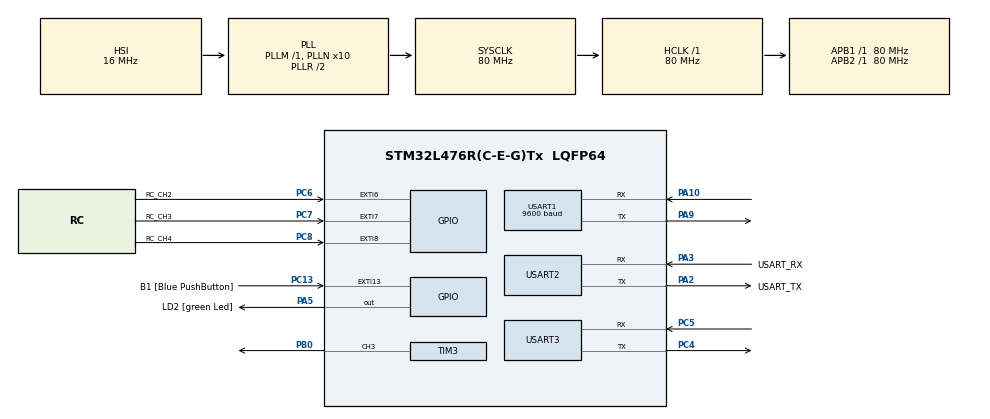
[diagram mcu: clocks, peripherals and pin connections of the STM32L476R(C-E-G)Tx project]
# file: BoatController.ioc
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FREERTOS.Tasks01=defaultTask,0,128,StartDefaultTask,Default,NULL,Dynamic,NULL,NULL;controlSafran,1,128,StartControlSafran,Default,NULL,Dynamic,NULL,NULL
Mcu.Family=STM32L4
Mcu.Name=STM32L476R(C-E-G)Tx
Mcu.Package=LQFP64
NVIC.EXTI9_5_IRQn=true\:5\:0\:true\:false\:true\:false\:true\:true
NVIC.PriorityGroup=NVIC_PRIORITYGROUP_4
NVIC.TIM2_IRQn=true\:5\:0\:false\:false\:true\:true\:true\:true
PA10.Mode=Asynchronous
PA10.Signal=USART1_RX
PA13\ (JTMS-SWDIO).GPIO_Label=TMS
PA13\ (JTMS-SWDIO).Mode=Serial_Wire
PA13\ (JTMS-SWDIO).Signal=SYS_JTMS-SWDIO
PA14\ (JTCK-SWCLK).GPIO_Label=TCK
PA14\ (JTCK-SWCLK).Mode=Serial_Wire
PA14\ (JTCK-SWCLK).Signal=SYS_JTCK-SWCLK
PA2.GPIO_Label=USART_TX
PA2.GPIO_Mode=GPIO_MODE_AF_PP
PA2.GPIO_PuPd=GPIO_NOPULL
PA2.GPIO_Speed=GPIO_SPEED_FREQ_VERY_HIGH
PA2.Mode=Asynchronous
PA2.Signal=USART2_TX
PA3.GPIO_Label=USART_RX
PA3.GPIO_Mode=GPIO_MODE_AF_PP
PA3.GPIO_PuPd=GPIO_NOPULL
PA3.GPIO_Speed=GPIO_SPEED_FREQ_VERY_HIGH
PA3.Mode=Asynchronous
PA3.Signal=USART2_RX
PA5.GPIO_Label=LD2 [green Led]
PA5.GPIO_ModeDefaultOutputPP=GPIO_MODE_OUTPUT_PP
PA5.GPIO_PuPd=GPIO_NOPULL
PA5.GPIO_Speed=GPIO_SPEED_FREQ_LOW
PA5.Signal=GPIO_Output
PA9.Mode=Asynchronous
PA9.Signal=USART1_TX
PB0.Signal=S_TIM3_CH3
PB3\ (JTDO-TRACESWO).GPIO_Label=SWO
PB3\ (JTDO-TRACESWO).Signal=SYS_JTDO-SWO
PC13.GPIO_Label=B1 [Blue PushButton]
PC13.GPIO_ModeDefaultEXTI=GPIO_MODE_IT_FALLING
PC13.GPIO_PuPd=GPIO_NOPULL
PC13.Signal=GPXTI13
PC14-OSC32_IN\ (PC14).Mode=LSE-External-Oscillator
PC14-OSC32_IN\ (PC14).Signal=RCC_OSC32_IN
PC15-OSC32_OUT\ (PC15).Mode=LSE-External-Oscillator
PC15-OSC32_OUT\ (PC15).Signal=RCC_OSC32_OUT
PC4.Mode=Asynchronous
PC4.Signal=USART3_TX
PC5.Mode=Asynchronous
PC5.Signal=USART3_RX
PC6.GPIO_Label=RC_CH2
PC6.GPIO_ModeDefaultEXTI=GPIO_MODE_IT_RISING_FALLING
PC6.Signal=GPXTI6
PC7.GPIO_Label=RC_CH3
PC7.GPIO_ModeDefaultEXTI=GPIO_MODE_IT_RISING_FALLING
PC7.Signal=GPXTI7
PC8.GPIO_Label=RC_CH4
PC8.GPIO_ModeDefaultEXTI=GPIO_MODE_IT_RISING_FALLING
PC8.Signal=GPXTI8
PH0-OSC_IN\ (PH0).Mode=HSE-External-Oscillator
PH0-OSC_IN\ (PH0).Signal=RCC_OSC_IN
PH1-OSC_OUT\ (PH1).Mode=HSE-External-Oscillator
PH1-OSC_OUT\ (PH1).Signal=RCC_OSC_OUT
ProjectManager.HeapSize=0x200
ProjectManager.StackSize=0x400
ProjectManager.TargetToolchain=SW4STM32
RCC.ADCFreq_Value=64000000
RCC.AHBFreq_Value=80000000
RCC.APB1Freq_Value=80000000
RCC.APB1TimFreq_Value=80000000
RCC.APB2Freq_Value=80000000
RCC.APB2TimFreq_Value=80000000
RCC.CortexFreq_Value=80000000
RCC.HCLKFreq_Value=80000000
RCC.HSE_VALUE=8000000
RCC.HSI_VALUE=16000000
RCC.MSI_VALUE=4000000
RCC.PLLN=10
RCC.PLLSourceVirtual=RCC_PLLSOURCE_HSI
RCC.PREFETCH_ENABLE=1
RCC.SYSCLKFreq_VALUE=80000000
RCC.SYSCLKSource=RCC_SYSCLKSOURCE_PLLCLK
RCC.USBFreq_Value=64000000
RCC.VCOOutputFreq_Value=160000000
SH.S_TIM3_CH3.0=TIM3_CH3,PWM Generation3 CH3
TIM2.Period=100000
TIM2.Prescaler=79
TIM3.Channel-PWM\ Generation3\ CH3=TIM_CHANNEL_3
TIM3.Prescaler=79
USART1.BaudRate=9600
USART1.Mode=MODE_TX_RX
USART1.VirtualMode-Asynchronous=VM_ASYNC
USART2.VirtualMode-Asynchronous=VM_ASYNC
USART3.VirtualMode-Asynchronous=VM_ASYNC
VP_FREERTOS_VS_CMSIS_V1.Mode=CMSIS_V1
VP_TIM2_VS_ClockSourceINT.Mode=Internal
board=NUCLEO-L476RG

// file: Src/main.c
/* USER CODE BEGIN Header */
/**
  ******************************************************************************
  * @file           : main.c
  * @brief          : Main program body
  ******************************************************************************
  * @attention
  *
  * <h2><center>&copy; Copyright (c) 2019 STMicroelectronics.
  * All rights reserved.</center></h2>
  *
  * This software component is licensed by ST under Ultimate Liberty license
  * SLA0044, the "License"; You may not use this file except in compliance with
  * the License. You may obtain a copy of the License at:
  *                             www.st.com/SLA0044
  *
  ******************************************************************************
  */
/* USER CODE END Header */

#include "main.h"
#include "cmsis_os.h"

TIM_HandleTypeDef htim2;
TIM_HandleTypeDef htim3;

UART_HandleTypeDef huart1;
UART_HandleTypeDef huart2;
UART_HandleTypeDef huart3;

osThreadId defaultTaskHandle;
osThreadId controlSafranHandle;
osThreadId readSafranHandle;
/* USER CODE BEGIN PV */
long pulse_width[HYDRO_NB_RC_CH];
long pulse_start[HYDRO_NB_RC_CH];
long increment = MID_POS_SAFRAN;
long consigne_angle_safran = 0;
char com_safran[1];
long valeur = 0;
/* USER CODE END PV */

void SystemClock_Config(void);
static void MX_GPIO_Init(void);
static void MX_USART2_UART_Init(void);
static void MX_USART3_UART_Init(void);
static void MX_TIM2_Init(void);
static void MX_TIM3_Init(void);
static void MX_USART1_UART_Init(void);
void StartDefaultTask(void const * argument);
void StartControlSafran(void const * argument);
void StartReadSafran(void const * argument);

/* USER CODE BEGIN 0 */
static void debugPrint(UART_HandleTypeDef *huart, char _out[]){
  HAL_UART_Transmit(huart, (uint8_t *) _out, strlen(_out), 1);
}

static void debugPrintln(UART_HandleTypeDef *huart, char _out[]){
  HAL_UART_Transmit(huart, (uint8_t *) _out, strlen(_out), 10);
  char newline[2] = "\r\n";
  HAL_UART_Transmit(huart, (uint8_t *) newline, 2, 10);
}
/* USER CODE END 0 */

int main(void)
{

  /* MCU Configuration--------------------------------------------------------*/

  /* Reset of all peripherals, Initializes the Flash interface and the Systick. */
  HAL_Init();

  /* Configure the system clock */
  SystemClock_Config();

  /* Initialize all configured peripherals */
  MX_GPIO_Init();
  MX_USART2_UART_Init();
  MX_USART3_UART_Init();
  MX_TIM2_Init();
  MX_TIM3_Init();
  MX_USART1_UART_Init();

  /* Create the thread(s) */
  /* definition and creation of defaultTask */
  osThreadDef(defaultTask, StartDefaultTask, osPriorityNormal, 0, 128);
  defaultTaskHandle = osThreadCreate(osThread(defaultTask), NULL);

  /* definition and creation of controlSafran */
  osThreadDef(controlSafran, StartControlSafran, osPriorityAboveNormal, 0, 128);
  controlSafranHandle = osThreadCreate(osThread(controlSafran), NULL);

  /* definition and creation of readSafran */
  osThreadDef(readSafran, StartReadSafran, osPriorityAboveNormal, 0, 128);
  readSafranHandle = osThreadCreate(osThread(readSafran), NULL);

  /* Start scheduler */
  osKernelStart();

  /* We should never get here as control is now taken by the scheduler */

  /* Infinite loop */
  while (1)
  {

  }
}

void SystemClock_Config(void)
{
  RCC_OscInitTypeDef RCC_OscInitStruct = {0};
  RCC_ClkInitTypeDef RCC_ClkInitStruct = {0};
  RCC_PeriphCLKInitTypeDef PeriphClkInit = {0};

  /** Initializes the CPU, AHB and APB busses clocks
  */
  RCC_OscInitStruct.OscillatorType = RCC_OSCILLATORTYPE_HSI;
  RCC_OscInitStruct.HSIState = RCC_HSI_ON;
  RCC_OscInitStruct.HSICalibrationValue = RCC_HSICALIBRATION_DEFAULT;
  RCC_OscInitStruct.PLL.PLLState = RCC_PLL_ON;
  RCC_OscInitStruct.PLL.PLLSource = RCC_PLLSOURCE_HSI;
  RCC_OscInitStruct.PLL.PLLM = 1;
  RCC_OscInitStruct.PLL.PLLN = 10;
  RCC_OscInitStruct.PLL.PLLP = RCC_PLLP_DIV7;
  RCC_OscInitStruct.PLL.PLLQ = RCC_PLLQ_DIV2;
  RCC_OscInitStruct.PLL.PLLR = RCC_PLLR_DIV2;
  if (HAL_RCC_OscConfig(&RCC_OscInitStruct) != HAL_OK)
  {
    Error_Handler();
  }
  /** Initializes the CPU, AHB and APB busses clocks
  */
  RCC_ClkInitStruct.ClockType = RCC_CLOCKTYPE_HCLK|RCC_CLOCKTYPE_SYSCLK
                              |RCC_CLOCKTYPE_PCLK1|RCC_CLOCKTYPE_PCLK2;
  RCC_ClkInitStruct.SYSCLKSource = RCC_SYSCLKSOURCE_PLLCLK;
  RCC_ClkInitStruct.AHBCLKDivider = RCC_SYSCLK_DIV1;
  RCC_ClkInitStruct.APB1CLKDivider = RCC_HCLK_DIV1;
  RCC_ClkInitStruct.APB2CLKDivider = RCC_HCLK_DIV1;

  if (HAL_RCC_ClockConfig(&RCC_ClkInitStruct, FLASH_LATENCY_4) != HAL_OK)
  {
    Error_Handler();
  }
  PeriphClkInit.PeriphClockSelection = RCC_PERIPHCLK_USART1|RCC_PERIPHCLK_USART2
                              |RCC_PERIPHCLK_USART3;
  PeriphClkInit.Usart1ClockSelection = RCC_USART1CLKSOURCE_PCLK2;
  PeriphClkInit.Usart2ClockSelection = RCC_USART2CLKSOURCE_PCLK1;
  PeriphClkInit.Usart3ClockSelection = RCC_USART3CLKSOURCE_PCLK1;
  if (HAL_RCCEx_PeriphCLKConfig(&PeriphClkInit) != HAL_OK)
  {
    Error_Handler();
  }
  /** Configure the main internal regulator output voltage
  */
  if (HAL_PWREx_ControlVoltageScaling(PWR_REGULATOR_VOLTAGE_SCALE1) != HAL_OK)
  {
    Error_Handler();
  }
}

static void MX_TIM2_Init(void)
{

  TIM_ClockConfigTypeDef sClockSourceConfig = {0};
  TIM_MasterConfigTypeDef sMasterConfig = {0};

  htim2.Instance = TIM2;
  htim2.Init.Prescaler = 79;
  htim2.Init.CounterMode = TIM_COUNTERMODE_UP;
  htim2.Init.Period = 100000;
  htim2.Init.ClockDivision = TIM_CLOCKDIVISION_DIV1;
  htim2.Init.AutoReloadPreload = TIM_AUTORELOAD_PRELOAD_DISABLE;
  if (HAL_TIM_Base_Init(&htim2) != HAL_OK)
  {
    Error_Handler();
  }
  sClockSourceConfig.ClockSource = TIM_CLOCKSOURCE_INTERNAL;
  if (HAL_TIM_ConfigClockSource(&htim2, &sClockSourceConfig) != HAL_OK)
  {
    Error_Handler();
  }
  sMasterConfig.MasterOutputTrigger = TIM_TRGO_RESET;
  sMasterConfig.MasterSlaveMode = TIM_MASTERSLAVEMODE_DISABLE;
  if (HAL_TIMEx_MasterConfigSynchronization(&htim2, &sMasterConfig) != HAL_OK)
  {
    Error_Handler();
  }
  /* USER CODE BEGIN TIM2_Init 2 */
  HAL_TIM_Base_Start(&htim2);
  /* USER CODE END TIM2_Init 2 */

}

static void MX_TIM3_Init(void)
{

  TIM_MasterConfigTypeDef sMasterConfig = {0};
  TIM_OC_InitTypeDef sConfigOC = {0};

  htim3.Instance = TIM3;
  htim3.Init.Prescaler = 79;
  htim3.Init.CounterMode = TIM_COUNTERMODE_UP;
  htim3.Init.Period = 0;
  htim3.Init.ClockDivision = TIM_CLOCKDIVISION_DIV1;
  htim3.Init.AutoReloadPreload = TIM_AUTORELOAD_PRELOAD_DISABLE;
  if (HAL_TIM_PWM_Init(&htim3) != HAL_OK)
  {
    Error_Handler();
  }
  sMasterConfig.MasterOutputTrigger = TIM_TRGO_RESET;
  sMasterConfig.MasterSlaveMode = TIM_MASTERSLAVEMODE_DISABLE;
  if (HAL_TIMEx_MasterConfigSynchronization(&htim3, &sMasterConfig) != HAL_OK)
  {
    Error_Handler();
  }
  sConfigOC.OCMode = TIM_OCMODE_PWM1;
  sConfigOC.Pulse = 0;
  sConfigOC.OCPolarity = TIM_OCPOLARITY_HIGH;
  sConfigOC.OCFastMode = TIM_OCFAST_DISABLE;
  if (HAL_TIM_PWM_ConfigChannel(&htim3, &sConfigOC, TIM_CHANNEL_3) != HAL_OK)
  {
    Error_Handler();
  }
  HAL_TIM_MspPostInit(&htim3);

}

static void MX_USART1_UART_Init(void)
{

  huart1.Instance = USART1;
  huart1.Init.BaudRate = 9600;
  huart1.Init.WordLength = UART_WORDLENGTH_8B;
  huart1.Init.StopBits = UART_STOPBITS_1;
  huart1.Init.Parity = UART_PARITY_NONE;
  huart1.Init.Mode = UART_MODE_TX_RX;
  huart1.Init.HwFlowCtl = UART_HWCONTROL_NONE;
  huart1.Init.OverSampling = UART_OVERSAMPLING_16;
  huart1.Init.OneBitSampling = UART_ONE_BIT_SAMPLE_DISABLE;
  huart1.AdvancedInit.AdvFeatureInit = UART_ADVFEATURE_NO_INIT;
  if (HAL_UART_Init(&huart1) != HAL_OK)
  {
    Error_Handler();
  }

}

static void MX_USART2_UART_Init(void)
{

  huart2.Instance = USART2;
  huart2.Init.BaudRate = 115200;
  huart2.Init.WordLength = UART_WORDLENGTH_8B;
  huart2.Init.StopBits = UART_STOPBITS_1;
  huart2.Init.Parity = UART_PARITY_NONE;
  huart2.Init.Mode = UART_MODE_TX_RX;
  huart2.Init.HwFlowCtl = UART_HWCONTROL_NONE;
  huart2.Init.OverSampling = UART_OVERSAMPLING_16;
  huart2.Init.OneBitSampling = UART_ONE_BIT_SAMPLE_DISABLE;
  huart2.AdvancedInit.AdvFeatureInit = UART_ADVFEATURE_NO_INIT;
  if (HAL_UART_Init(&huart2) != HAL_OK)
  {
    Error_Handler();
  }

}

static void MX_USART3_UART_Init(void)
{

  huart3.Instance = USART3;
  huart3.Init.BaudRate = 115200;
  huart3.Init.WordLength = UART_WORDLENGTH_8B;
  huart3.Init.StopBits = UART_STOPBITS_1;
  huart3.Init.Parity = UART_PARITY_NONE;
  huart3.Init.Mode = UART_MODE_TX_RX;
  huart3.Init.HwFlowCtl = UART_HWCONTROL_NONE;
  huart3.Init.OverSampling = UART_OVERSAMPLING_16;
  huart3.Init.OneBitSampling = UART_ONE_BIT_SAMPLE_DISABLE;
  huart3.AdvancedInit.AdvFeatureInit = UART_ADVFEATURE_NO_INIT;
  if (HAL_UART_Init(&huart3) != HAL_OK)
  {
    Error_Handler();
  }

}

static void MX_GPIO_Init(void)
{
  GPIO_InitTypeDef GPIO_InitStruct = {0};

  /* GPIO Ports Clock Enable */
  __HAL_RCC_GPIOC_CLK_ENABLE();
  __HAL_RCC_GPIOH_CLK_ENABLE();
  __HAL_RCC_GPIOA_CLK_ENABLE();
  __HAL_RCC_GPIOB_CLK_ENABLE();

  /*Configure GPIO pin Output Level */
  HAL_GPIO_WritePin(LD2_GPIO_Port, LD2_Pin, GPIO_PIN_RESET);

  /*Configure GPIO pin : B1_Pin */
  GPIO_InitStruct.Pin = B1_Pin;
  GPIO_InitStruct.Mode = GPIO_MODE_IT_FALLING;
  GPIO_InitStruct.Pull = GPIO_NOPULL;
  HAL_GPIO_Init(B1_GPIO_Port, &GPIO_InitStruct);

  /*Configure GPIO pin : LD2_Pin */
  GPIO_InitStruct.Pin = LD2_Pin;
  GPIO_InitStruct.Mode = GPIO_MODE_OUTPUT_PP;
  GPIO_InitStruct.Pull = GPIO_NOPULL;
  GPIO_InitStruct.Speed = GPIO_SPEED_FREQ_LOW;
  HAL_GPIO_Init(LD2_GPIO_Port, &GPIO_InitStruct);

  /*Configure GPIO pins : RC_CH2_Pin RC_CH3_Pin RC_CH4_Pin */
  GPIO_InitStruct.Pin = RC_CH2_Pin|RC_CH3_Pin|RC_CH4_Pin;
  GPIO_InitStruct.Mode = GPIO_MODE_IT_RISING_FALLING;
  GPIO_InitStruct.Pull = GPIO_NOPULL;
  HAL_GPIO_Init(GPIOC, &GPIO_InitStruct);

  /* EXTI interrupt init*/
  HAL_NVIC_SetPriority(EXTI9_5_IRQn, 5, 0);
  HAL_NVIC_EnableIRQ(EXTI9_5_IRQn);

}

void StartDefaultTask(void const * argument)
{

  /* USER CODE BEGIN 5 */
  /* Infinite loop */
  for(;;)
  {
	  		char buffer_safran[100];
	  		sprintf(buffer_safran, "Angle safran: %ld PP: %ld\t M: %ld\t S: %ld",
	  				increment, pulse_width[0], pulse_width[1], pulse_width[2]);
	  		debugPrintln(&huart2, buffer_safran);
	  		osDelay(200);
  }
  /* USER CODE END 5 */
}

void StartControlSafran(void const * argument)
{
  /* USER CODE BEGIN StartControlSafran */
	float err_prec = 0;
	  /* Infinite loop */
		for(;;)
		{

			//PID
			float consigne = pulse_width[2] + MID_POS_SAFRAN; //(AMP_SAFRAN/AMP_CH3)*(pulse_width[2]-MID_POS_CH3);

			float err = consigne - increment;

			float d_err = err - err_prec;
			err_prec = err;

			float commande = 0;

			commande = - KP_PID_SAFRAN*err
					- KD_PID_SAFRAN*d_err;

			com_safran[0] = 64;
			//Choix de la direction du moteur
			if(commande > 100){
				com_safran[0] = 64 + MAX_P_SAFRAN;
				debugPrint(&huart1, com_safran);
			}
			else if(commande <= 100 && commande >STOP_VAL_SAFRAN){
				com_safran[0] = 64 + (MAX_P_SAFRAN*commande)/100;
				debugPrint(&huart1, com_safran);
			}
			else if(commande <= STOP_VAL_SAFRAN && commande >=-STOP_VAL_SAFRAN){
				com_safran[0] = 64;
				debugPrint(&huart1, com_safran);
			}
			else if(commande < -STOP_VAL_SAFRAN && commande >=-100){
				com_safran[0] = 64 + (MAX_P_SAFRAN*commande)/100;
				debugPrint(&huart1, com_safran);
			}
			else{
				com_safran[0] = 64-MAX_P_SAFRAN;
				debugPrint(&huart1, com_safran);
			}/*
			*/
			osDelay(10);
  }
  /* USER CODE END StartControlSafran */
}

void StartReadSafran(void const * argument)
{
  /* USER CODE BEGIN StartReadSafran */
	  /* Infinite loop */
		for(;;)
		{

			char in[4] = {0, 0, 0, 0};

			//Envoi de la demande de position du codeur safran
			debugPrint(&huart3, "C");

			//Reception des 4 octets de la position du safran
			HAL_UART_Receive(&huart3, (uint8_t *)in, 4, 10);

			//Conversion en entier
			increment = in[0]<<24 | in[1]<<16 | in[2]<<8 | in[3];

			consigne_angle_safran = pulse_width[2];

			//angle_safran = (29160/85313)*(increment - MID_POS_SAFRAN);

			osDelay(50);
  }
  /* USER CODE END StartReadSafran */
}

void Error_Handler(void)
{
}

/************************ (C) COPYRIGHT STMicroelectronics *****END OF FILE****/
